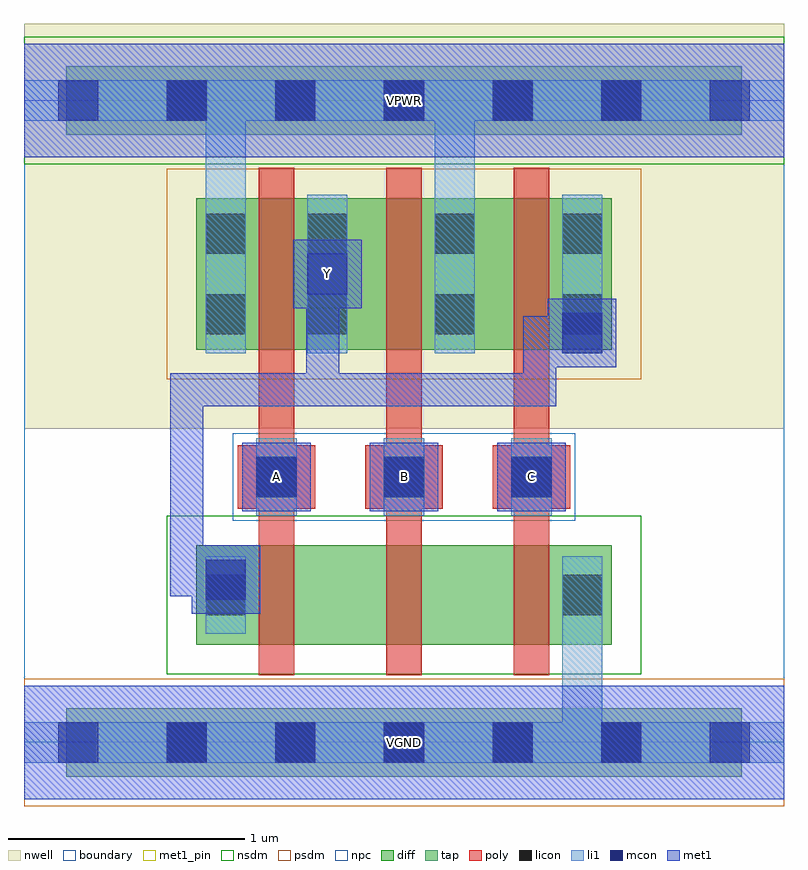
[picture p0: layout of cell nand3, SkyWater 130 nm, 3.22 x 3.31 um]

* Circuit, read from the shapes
.subckt nand3 A B C VGND VPWR Y
XM1 n1 A Y VGND sky130_fd_pr__nfet_01v8 w=0.42 l=0.15
XM2 n2 B n1 VGND sky130_fd_pr__nfet_01v8 w=0.42 l=0.15
XM3 VGND C n2 VGND sky130_fd_pr__nfet_01v8 w=0.42 l=0.15
XM4 Y A VPWR VPWR sky130_fd_pr__pfet_01v8 w=0.64 l=0.15
XM5 VPWR B Y VPWR sky130_fd_pr__pfet_01v8 w=0.64 l=0.15
XM6 Y C VPWR VPWR sky130_fd_pr__pfet_01v8 w=0.64 l=0.15
.ends

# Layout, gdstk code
import gdstk
lib = gdstk.Library(unit=1e-6, precision=1e-09)
def R(c, l, rs):  # rectangles x0, y0, x1, y1
    for r in rs: c.add(gdstk.rectangle(r[:2], r[2:], *l))
def A(c, l, x, y, w, h, nx, ny, dx, dy):  # array of equal rectangles
    R(c, l, [(x+i*dx, y+j*dy, x+i*dx+w, y+j*dy+h) for i in range(nx) for j in range(ny)])
nwell = (64, 20)
diff = (65, 20)
tap = (65, 44)
poly = (66, 20)
licon = (66, 44)
li1 = (67, 20)
mcon = (67, 44)
met1_pin = (68, 16)
met1 = (68, 20)
nsdm = (93, 44)
psdm = (94, 20)
npc = (95, 20)
boundary = (235, 4)

nand3 = lib.new_cell('nand3')
R(nand3, nwell, [(0,1.33,3.22,3.045)])
R(nand3, diff, [(0.73,0.415,2.49,0.835), (0.73,1.665,2.49,2.305)])
R(nand3, tap, [(0.18,-0.145,3.04,0.145), (0.18,2.575,3.04,2.865)])
A(nand3, poly, 0.995, 0.285, 0.15, 2.15, 3, 1, 0.54, 0)
A(nand3, poly, 0.905, 0.99, 0.33, 0.27, 3, 1, 0.54, 0)
A(nand3, licon, 0.605, -0.085, 0.17, 0.17, 5, 2, 0.46, 2.72)
A(nand3, licon, 0.985, 1.04, 0.17, 0.17, 3, 1, 0.54, 0)
A(nand3, licon, 1.2, 1.73, 0.17, 0.17, 3, 2, 0.54, 0.34)
R(nand3, licon, [(0.77,0.54,0.94,0.71), (2.28,0.54,2.45,0.71), (0.77,1.73,0.94,1.9), (0.77,2.07,0.94,2.24)])
A(nand3, li1, 0.985, 0.96, 0.17, 0.33, 3, 1, 0.54, 0)
A(nand3, li1, 1.2, 1.65, 0.17, 0.67, 3, 1, 0.54, 0)
R(nand3, li1, [(0,-0.085,3.22,0.085), (2.28,-0.085,2.45,0.79), (0.77,0.46,0.94,0.79), (2.28,0.46,2.45,0.79), (0.77,1.65,0.94,2.32), (0.77,1.65,0.94,2.805), (1.74,1.65,1.91,2.805), (0,2.635,3.22,2.805)])
A(nand3, mcon, 0.145, -0.085, 0.17, 0.17, 7, 2, 0.46, 2.72)
A(nand3, mcon, 0.985, 1.04, 0.17, 0.17, 3, 1, 0.54, 0)
R(nand3, mcon, [(0.77,0.605,0.94,0.775), (2.28,1.65,2.45,1.82), (1.2,1.9,1.37,2.07)])
A(nand3, met1_pin, 0.925, 0.98, 0.29, 0.29, 3, 1, 0.54, 0)
R(nand3, met1_pin, [(0,-0.24,3.22,0.24), (1.14,1.84,1.43,2.13), (0,2.48,3.22,2.96)])
A(nand3, met1, 0.925, 0.98, 0.29, 0.29, 3, 1, 0.54, 0)
R(nand3, met1, [(0,-0.24,3.22,0.24), (0.71,0.545,1,0.835), (0.62,0.62,0.925,0.76), (0.62,0.62,0.76,1.565), (0.62,1.425,1.335,1.565), (1.195,1.425,1.335,2.025), (1.195,1.425,2.255,1.565), (2.115,1.425,2.255,1.68), (2.115,1.54,2.255,1.805), (2.22,1.59,2.51,1.88), (2.115,1.665,2.435,1.805), (1.14,1.84,1.43,2.13), (1.195,1.885,1.335,2.025), (0,2.48,3.22,2.96)])
R(nand3, nsdm, [(0.605,0.29,2.615,0.96), (0,2.45,3.22,2.99)])
R(nand3, psdm, [(0,-0.27,3.22,0.27), (0.605,1.54,2.615,2.43)])
R(nand3, npc, [(0.885,0.94,2.335,1.31)])
R(nand3, boundary, [(0,0,3.22,2.72)])
nand3.add(gdstk.Label('A', (1.07,1.125), layer=68, texttype=5))
nand3.add(gdstk.Label('B', (1.61,1.125), layer=68, texttype=5))
nand3.add(gdstk.Label('C', (2.15,1.125), layer=68, texttype=5))
nand3.add(gdstk.Label('Y', (1.285,1.985), layer=68, texttype=5))
nand3.add(gdstk.Label('VPWR', (1.61,2.72), layer=68, texttype=5))
nand3.add(gdstk.Label('VGND', (1.61,0), layer=68, texttype=5))
nand3.add(gdstk.Label('A', (1.07,1.125), layer=68, texttype=16))
nand3.add(gdstk.Label('B', (1.61,1.125), layer=68, texttype=16))
nand3.add(gdstk.Label('C', (2.15,1.125), layer=68, texttype=16))
nand3.add(gdstk.Label('Y', (1.285,1.985), layer=68, texttype=16))
nand3.add(gdstk.Label('VPWR', (1.61,2.72), layer=68, texttype=16))
nand3.add(gdstk.Label('VGND', (1.61,0), layer=68, texttype=16))

lib.write_gds('nand3.gds')
